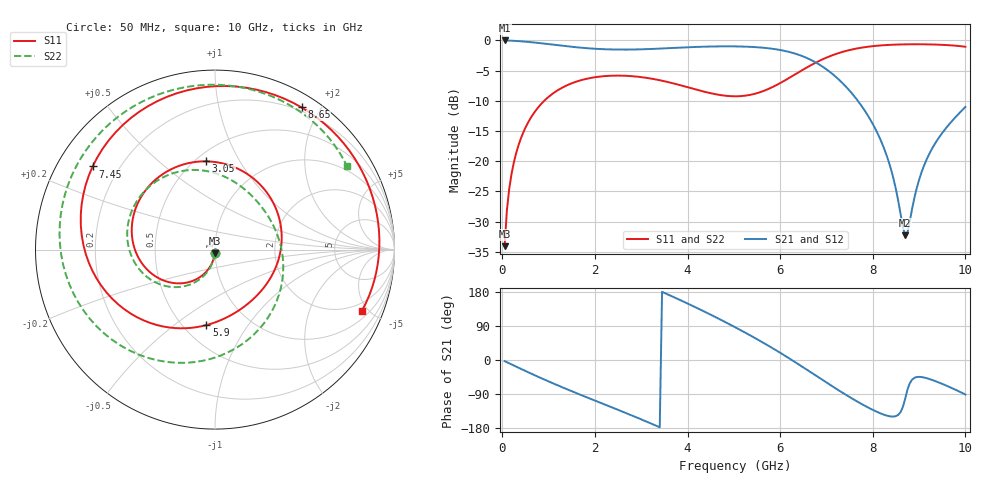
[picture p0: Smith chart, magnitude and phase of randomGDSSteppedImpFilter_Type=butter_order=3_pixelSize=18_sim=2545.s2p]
! freq	dB(S11)	phase(S11)	dB(S12)	phase(S12)
!  dB(S21)	phase(S21)	dB(S22)	phase(S22)
!S-par simulation data
#  GHz  S  DB  R 50
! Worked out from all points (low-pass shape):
!   200 points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, 50 MHz to 10 GHz, reference 50 ohm
!   highest |S21| = 0.00 dB at 50 MHz (marker M1); lowest = -32.3 dB at 8.7 GHz (marker M2)
!   |S21| within 3 dB of the highest: start of sweep to 6.604 GHz
!   lowest |S11| = -34.1 dB at 50 MHz (marker M3), VSWR 1.04, Z = 49.9 - j1.98 ohm
!   |S11| at or under -10 dB: start of sweep to 904.8 MHz
!   |S22| runs from -33.9 to -0.7 dB; largest |S21 - S12| = 0
!   S11 on the Smith chart (normalised r, x): 50 MHz: 1.00, -0.04; 3.05 GHz: 0.56, +0.73; 5.9 GHz: 0.64, -0.66; 7.45 GHz: 0.11, +0.30; 8.65 GHz: 0.16, +1.77; 10 GHz: 1.44, -4.58
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0.05  -34.05 -93.2  -0.00 -3.0  -0.00 -3.0  -33.89 -92.8
0.1  -28.05 -96.4  -0.01 -5.9  -0.01 -5.9  -27.92 -95.6
0.2  -22.08 -102.7  -0.04 -11.7  -0.04 -11.7  -22.04 -101.3
0.5  -14.44 -121.2  -0.20 -29.0  -0.20 -29.0  -14.44 -117.8
1.1  -8.74 -156.3  -0.70 -61.8  -0.70 -61.8  -8.73 -148.5
1.75  -6.48 167.9  -1.24 -94.8  -1.24 -94.8  -6.47 -178.7
3.05  -6.12 95.7  -1.46 -159.2  -1.46 -159.2  -6.10 125.3
3.4  -6.59 74.3  -1.35 -177.6  -1.35 -177.6  -6.56 110.3
4.15  -8.05 24.3  -1.09 140.5  -1.09 140.5  -7.99 77.2
5.05  -9.25 -39.8  -0.99 85.1  -0.99 85.1  -9.13 30.9
5.45  -8.84 -66.8  -1.10 58.4  -1.10 58.4  -8.74 4.3
5.9  -7.47 -96.5  -1.45 26.5  -1.45 26.5  -7.40 -31.1
6.3  -5.72 -124.2  -2.13 -3.8  -2.13 -3.8  -5.67 -65.4
6.7  -3.95 -154.4  -3.36 -35.4  -3.36 -35.4  -3.91 -100.5
7.05  -2.68 177.8  -5.07 -63.4  -5.07 -63.4  -2.65 -130.5
7.45  -1.68 145.8  -7.89 -94.2  -7.89 -94.2  -1.66 -162.9
7.9  -1.04 111.2  -12.50 -125.4  -12.50 -125.4  -1.05 163.5
8.35  -0.74 78.8  -20.21 -148.2  -20.21 -148.2  -0.79 132.8
8.65  -0.65 58.7  -30.88 -124.0  -30.88 -124.0  -0.73 113.5
8.7  -0.65 55.4  -32.25 -102.1  -32.25 -102.1  -0.73 110.4
9.2  -0.65 24.2  -19.09 -49.2  -19.09 -49.2  -0.77 79.9
10  -1.05 -22.6  -11.01 -91.0  -11.01 -91.0  -1.21 32.2
